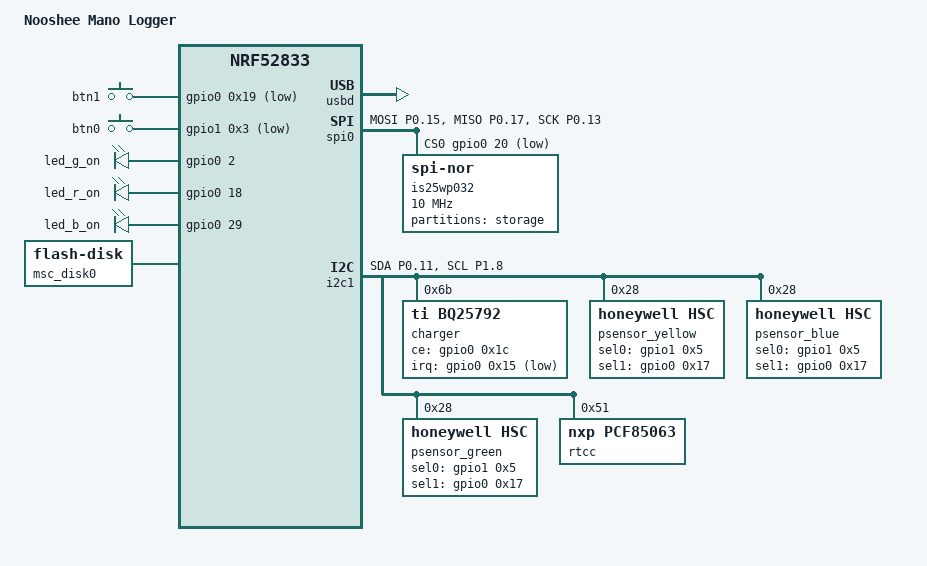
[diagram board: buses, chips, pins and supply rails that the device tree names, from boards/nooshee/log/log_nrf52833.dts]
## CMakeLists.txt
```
# SPDX-License-Identifier: Apache-2.0
cmake_minimum_required(VERSION 3.20.0)
set(BOARD_ROOT ${CMAKE_CURRENT_SOURCE_DIR}/.)
set(BOARD log/nrf52833)

# OOT Drivers
list(APPEND ZEPHYR_EXTRA_MODULES ${CMAKE_CURRENT_SOURCE_DIR}/drivers)

find_package(Zephyr REQUIRED HINTS $ENV{ZEPHYR_BASE})

project(ns_mano_fw)


test_sysbuild()

target_include_directories(app PRIVATE src)
target_sources(app PRIVATE src/main.c)
target_sources(app PRIVATE src/mano.c)
target_sources(app PRIVATE src/data.c)
```

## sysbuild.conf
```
SB_CONFIG_BOOTLOADER_MCUBOOT=y 
SB_CONFIG_SECURE_BOOT_APPCORE=y
SB_CONFIG_MCUBOOT_MODE_SINGLE_APP=y
SB_CONFIG_MCUBOOT_HARDWARE_DOWNGRADE_PREVENTION=n 
SB_CONFIG_MCUBOOT_APP_SYNC_UPDATEABLE_IMAGES=n
```

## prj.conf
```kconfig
CONFIG_ASSERT=y
CONFIG_DEBUG=y
CONFIG_DEBUG_OPTIMIZATIONS=y
CONFIG_LOG=y
CONFIG_PINCTRL=y
CONFIG_LOG_MODE_IMMEDIATE=y
CONFIG_LOG_INFO_COLOR_GREEN=y
CONFIG_RTT_CONSOLE=y
CONFIG_CONSOLE=y
CONFIG_USE_SEGGER_RTT=y
CONFIG_LOG_BACKEND_RTT=y

CONFIG_CHARGER_BQ25792=y
CONFIG_SENSOR_HSC=y
CONFIG_CBPRINTF_FP_SUPPORT=y
CONFIG_MAIN_STACK_SIZE=4096
#CONFIG_MINIMAL_LIBC=y


#CONFIG_PM_DEVICE=n
#CONFIG_JSON_LIBRARY=y
#CONFIG_I2C_LOG_LEVEL_OFF=y

#CONFIG_HEAP_MEM_POOL_SIZE=2048


#CONFIG_SENSOR=y
CONFIG_RTC_PCF85063=y
CONFIG_RTC_LOG_LEVEL_INF=y
CONFIG_LOG_DEFAULT_LEVEL=2
CONFIG_FLASHDISK_LOG_LEVEL_INF=y


#CONFIG_EVENTS=y

#CONFIG_REBOOT=y
#CONFIG_RESET_ON_FATAL_ERROR=y

CONFIG_BT=y
CONFIG_BT_PERIPHERAL=y
CONFIG_BT_DEVICE_NAME="Nooshee"
CONFIG_BT_DEVICE_APPEARANCE=833
CONFIG_BT_MAX_CONN=1
CONFIG_BT_LBS=y
CONFIG_BT_MAX_PAIRED=1
CONFIG_BT_GAP_AUTO_UPDATE_CONN_PARAMS=y
CONFIG_BT_PERIPHERAL_PREF_MIN_INT=10  
CONFIG_BT_PERIPHERAL_PREF_MAX_INT=20  

# Enable Flash Drivers
CONFIG_FLASH=y
CONFIG_SPI_NOR=y
CONFIG_SPI_NOR_SFDP_RUNTIME=n
CONFIG_SPI_NOR_FLASH_LAYOUT_PAGE_SIZE=4096
CONFIG_PM_OVERRIDE_EXTERNAL_DRIVER_CHECK=y  

# Flash Partition Manager
CONFIG_FLASH_MAP=y
CONFIG_FLASH_PAGE_LAYOUT=y
CONFIG_CRC=y

CONFIG_CJSON_LIB=y
CONFIG_NEWLIB_LIBC=y
CONFIG_NEWLIB_LIBC_FLOAT_PRINTF=y

# Enable Filesystem
CONFIG_FILE_SYSTEM=y
CONFIG_FAT_FILESYSTEM_ELM=y

CONFIG_DISK_DRIVER_FLASH=y

CONFIG_DISK_ACCESS=y

CONFIG_USB_DEVICE_STACK=y
CONFIG_USB_DEVICE_PRODUCT="Nooshee Log Trio"
CONFIG_USB_DEVICE_PID=0x0008
CONFIG_USB_MASS_STORAGE=y
CONFIG_USB_DEVICE_INITIALIZE_AT_BOOT=n

CONFIG_MASS_STORAGE_DISK_NAME="NAND"
CONFIG_MASS_STORAGE_STACK_SIZE=8192
CONFIG_STREAM_FLASH=y

CONFIG_NVS=y
CONFIG_PM_PARTITION_SIZE_NVS_STORAGE=0x4000
CONFIG_NVS_LOG_LEVEL_DBG=y
CONFIG_USB_CDC_ACM=y
CONFIG_USB_CDC_ACM_RINGBUF_SIZE=1024
CONFIG_UART_INTERRUPT_DRIVEN=y
CONFIG_UART_LINE_CTRL=y

CONFIG_PARTITION_MANAGER_ENABLED=y
CONFIG_USB_DEVICE_VID=0x6363
CONFIG_MULTITHREADING=y

CONFIG_SENSOR_LOG_LEVEL_INF=y
CONFIG_CHARGER_LOG_LEVEL_INF=y

CONFIG_GPIO=y
```

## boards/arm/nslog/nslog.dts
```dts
// Copyright (c) 2022 Nordic Semiconductor ASA
// SPDX-License-Identifier: Apache-2.0

/dts-v1/;
#include <nordic/nrf52833_qiaa.dtsi>

/ {
	model = "NSLOG";
	compatible = "nooshee,nslog";

	chosen {
		zephyr,sram = &sram0;
		zephyr,flash = &flash0;
		zephyr,code-partition = &slot0_partition;
		zephyr,shell-uart = &cdc_acm_uart0;
		nordic,pm-ext-flash = &is25wp032;

	};

	ioctl {
		compatible = "gpio-keys";
		// UI 
		btn_start_stop { gpios = <&gpio1 4 GPIO_ACTIVE_LOW>; }; // P1.04
		abp_int_0 { gpios = <&gpio0 27 GPIO_ACTIVE_LOW>; }; // P0.27
		abp_int_1 { gpios = <&gpio0 4 GPIO_ACTIVE_LOW>; }; // P0.04
		abp_int_2 { gpios = <&gpio0 11 GPIO_ACTIVE_LOW>; }; // P0.11
	};

    leds {
        compatible = "gpio-leds";
        led_g_on { gpios = <&gpio0 2 GPIO_ACTIVE_HIGH>; }; // P0.02
        led_r_on { gpios = <&gpio0 18 GPIO_ACTIVE_HIGH>; }; // P0.18
        led_b_on { gpios = <&gpio0 29 GPIO_ACTIVE_HIGH>; }; // P0.29
    };

};


&pinctrl {
	spi_psel:  spi_psel{group1 {psels = <NRF_PSEL(SPIM_MOSI, 0, 15)>,<NRF_PSEL(SPIM_MISO, 0, 17)>,<NRF_PSEL(SPIM_SCK, 0, 13)>;};};
	i2c_psel: i2c_psel{group1 {psels = <NRF_PSEL(TWIM_SDA, 0, 11)>,<NRF_PSEL(TWIM_SCL, 1, 8)>;};};
};

&gpio0 {
	status = "okay";
};

&gpio1 {
	status = "okay";
};

&gpiote {
	status = "okay";
	interrupts = <6 NRF_DEFAULT_IRQ_PRIORITY>;
};

&usbd {
	compatible = "nordic,nrf-usbd";
	status = "okay"; 

	
	cdc_acm_uart0: cdc_acm_uart0 {
		compatible = "zephyr,cdc-acm-uart";
	};
};


&spi0 {
	status = "okay";
	compatible = "nordic,nrf-spi";
	pinctrl-0 = <&spi_psel>;
    pinctrl-1 = <&spi_psel>;
    pinctrl-names = "default", "sleep";
	cs-gpios = <&gpio0 20 GPIO_ACTIVE_LOW>;


	is25wp032: is25wp032@0 {
        compatible = "jedec,spi-nor";
        reg = <0>;
        spi-max-frequency = <10000000>;
        size = <DT_SIZE_M(32)>;
        jedec-id = [9D 70 16];  
        status = "okay";

		partitions {
			compatible = "fixed-partitions";
			#address-cells = <1>;
			#size-cells = <1>;
	
			external_flash: partition@0 {
				label = "storage";
				reg = <0x0 0x400000>;  // Define the size according to your storage needs
			};
		};


    };
};

&i2c1 {
	compatible = "nordic,nrf-twim";
	status = "okay";
	pinctrl-0 = <&i2c_psel>;
	pinctrl-1 = <&i2c_psel>;
	pinctrl-names = "default", "sleep";

	bq25792: bq25792@6b 
	{
		compatible = "ti,bq25792";
		reg = <0x6b>;
		ce-gpios = <&gpio0 28 GPIO_ACTIVE_HIGH>; 
		irq-gpios = <&gpio0 21 (GPIO_ACTIVE_LOW | GPIO_PULL_UP)>; 
		charge-ilim = <1000>; 
		input-ilim = <1000>; 
	};

	hsc0: hsc0@28
	{
		compatible = "honeywell,hsc";
		reg = <0x28>;
		sel0-gpios = <&gpio1 5 GPIO_ACTIVE_HIGH>;
		sel1-gpios = <&gpio0 23 GPIO_ACTIVE_HIGH>;
		id = <0>; 
	};

	hsc1: hsc1@28
	{
		compatible = "honeywell,hsc";
		reg = <0x28>;
		sel0-gpios = <&gpio1 5 GPIO_ACTIVE_HIGH>;
		sel1-gpios = <&gpio0 23 GPIO_ACTIVE_HIGH>;
		id = <1>; 
	};

	hsc2: hsc2@28
	{
		compatible = "honeywell,hsc";
		reg = <0x28>;
		sel0-gpios = <&gpio1 5 GPIO_ACTIVE_HIGH>;
		sel1-gpios = <&gpio0 23 GPIO_ACTIVE_HIGH>;
		id = <2>; 
	};
};


&flash0 {
	partitions {
		compatible = "fixed-partitions";
		#address-cells = <1>;
		#size-cells = <1>;

		boot_partition: partition@0 {
			label = "mcuboot";
			reg = <0x0 0xc000>;
		};
		slot0_partition: partition@c000 {
			label = "image-0";
			reg = <0xc000 0x32000>;
		};
		slot1_partition: partition@3e000 {
			label = "image-1";
			reg = <0x3e000 0x32000>;
		};
		scratch_partition: partition@70000 {
			label = "image-scratch";
			reg = <0x70000 0xa000>;
		};
	};
};
```

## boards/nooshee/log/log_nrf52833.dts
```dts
/dts-v1/;
#include <nordic/nrf52833_qiaa.dtsi>

/ {
	model = "Nooshee Mano Logger";
	compatible = "nooshee,log-nrf52833";


	chosen {
		zephyr,sram = &sram0;
		zephyr,flash = &flash0;
		zephyr,code-partition = &slot0_partition;
		zephyr,shell-uart = &cdc_acm_uart0;
		nordic,pm-ext-flash = &is25wp032;
		zephyr,uart-mcumgr = &cdc_acm_uart0;
	};
    
	aliases {
		mcuboot-button0 = &btn0;
	};

    buttons {
		compatible = "gpio-keys";
		btn1: btn1 {
			gpios = < &gpio0 0x19 0x11 >;
		};
		btn0: btn0 {
			gpios = < &gpio1 0x3 0x11 >;
		};
	};

    leds {
        compatible = "gpio-leds";
        led_g_on { gpios = <&gpio0 2 GPIO_ACTIVE_HIGH>; }; // P0.02
        led_r_on { gpios = <&gpio0 18 GPIO_ACTIVE_HIGH>; }; // P0.18
        led_b_on { gpios = <&gpio0 29 GPIO_ACTIVE_HIGH>; }; // P0.29
    };
    msc_disk0 {
        compatible = "zephyr,flash-disk";
        partition = < &external_flash >;
        disk-name = "NAND";
        cache-size = < 0x1000 >;
    };


};




&usbd {
	compatible = "nordic,nrf-usbd";
	status = "okay"; 

	
	cdc_acm_uart0: cdc_acm_uart0 {
		compatible = "zephyr,cdc-acm-uart";
	};
};



&pinctrl {
    spi_psel:  spi_psel{group1 {psels = <NRF_PSEL(SPIM_MOSI, 0, 15)>,<NRF_PSEL(SPIM_MISO, 0, 17)>,<NRF_PSEL(SPIM_SCK, 0, 13)>;};};
    i2c_psel: i2c_psel{group1 {psels = <NRF_PSEL(TWIM_SDA, 0, 11)>,<NRF_PSEL(TWIM_SCL, 1, 8)>;};};
};

&gpio0 {
	status = "okay";
};

&gpio1 {
	status = "okay";
};

&gpiote {
	status = "okay";
	interrupts = <6 NRF_DEFAULT_IRQ_PRIORITY>;
};


&spi0 {
	status = "okay";
	compatible = "nordic,nrf-spi";
	pinctrl-0 = <&spi_psel>;
    pinctrl-1 = <&spi_psel>;
    pinctrl-names = "default", "sleep";
	cs-gpios = <&gpio0 20 GPIO_ACTIVE_LOW>;

    is25wp032: is25wp032@0 {
        compatible = "jedec,spi-nor";
        reg = < 0x0 >;
        spi-max-frequency = < 0x989680 >;
        size = < 0x2000000 >;
        jedec-id = [ 9D 70 16 ];
        status = "okay";
        partitions {
            compatible = "fixed-partitions";
            #address-cells = < 0x1 >;
            #size-cells = < 0x1 >;
            external_flash: partition@0 {
                label = "storage";
                reg = < 0x0 0x400000 >;
                phandle = < 0x8 >;
            };
        };
    };
};


&i2c1  {

	compatible = "nordic,nrf-twim";
	status = "okay";
	pinctrl-0 = <&i2c_psel>;
	pinctrl-1 = <&i2c_psel>;
	pinctrl-names = "default", "sleep";

    charger: bq25792@6b {
        compatible = "ti,bq25792";
        reg = < 0x6b >;
        ce-gpios = < &gpio0 0x1c 0x0 >;
        irq-gpios = < &gpio0 0x15 0x11 >;
        charge-ilim = < 0x3e8 >;
        input-ilim = < 0x3e8 >;
    };
    psensor_yellow: hsc0@28 {
        compatible = "honeywell,hsc";
        reg = < 0x28 >;
        sel0-gpios = < &gpio1 0x5 0x0 >;
        sel1-gpios = < &gpio0 0x17 0x0 >;
        id = < 0x0 >;
    };
    psensor_blue: hsc1@28 {
        compatible = "honeywell,hsc";
        reg = < 0x28 >;
        sel0-gpios = < &gpio1 0x5 0x0 >;
        sel1-gpios = < &gpio0 0x17 0x0 >;
        id = < 0x1 >;
    };
    psensor_green: hsc2@28 {
        compatible = "honeywell,hsc";
        reg = < 0x28 >;
        sel0-gpios = < &gpio1 0x5 0x0 >;
        sel1-gpios = < &gpio0 0x17 0x0 >;
        id = < 0x2 >;
    };
    rtcc: pcf85063@51 {
        compatible = "nxp,pcf85063";
        reg = < 0x51 >;
    };
};

&flash0 {
	partitions {
		compatible = "fixed-partitions";
		#address-cells = <1>;
		#size-cells = <1>;

		boot_partition: partition@0 {
			label = "mcuboot";
			reg = <0x0 0xc000>;
		};
		slot0_partition: partition@c000 {
			label = "image-0";
			reg = <0xc000 0x32000>;
		};
		slot1_partition: partition@3e000 {
			label = "image-1";
			reg = <0x3e000 0x32000>;
		};
		scratch_partition: partition@70000 {
			label = "image-scratch";
			reg = <0x70000 0xa000>;
		};
	};
};
```

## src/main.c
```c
 /* 
  _   _                 _               
 | \ | |               | |              
 |  \| | ___   ___  ___| |__   ___  ___ 
 | . ` |/ _ \ / _ \/ __| '_ \ / _ \/ _ \
 | |\  | (_) | (_) \__ \ | | |  __/  __/
 |_| \_|\___/ \___/|___/_| |_|\___|\___|

 Module for Zephyr RTOS by Dominic Moffat [2023-08-10]
 v1.0.0
 Copyright (c) 2023 Nooshee LLC 
 */   
#include <zephyr/device.h>
#include <zephyr/devicetree.h>
#include <zephyr/kernel.h>
#include <zephyr/logging/log.h>
#include <zephyr/zbus/zbus.h>
#include <zephyr/drivers/gpio.h>
#include <zephyr/drivers/i2c.h>
#include <zephyr/drivers/sensor.h>

#include <stdio.h>
#include <string.h>
#include <stdint.h>
#include <stdlib.h>

#define LOG_MODULE_NAME application
LOG_MODULE_REGISTER(LOG_MODULE_NAME, LOG_LEVEL_DBG);

const struct device* dev_i2c1 = 	DEVICE_DT_GET(DT_NODELABEL(i2c1));
void i2c_scan (const struct device *dev)
{
    int ret, i;
    for (i = 0; i < 0x7F; i++) 
    {
        uint8_t dummy_data;
        // Try to read from address 'i' to check if a device is present
        ret = i2c_read(dev, &dummy_data,  1, i); 
        //ret = i2c_reg_read_byte(dev,i,0x00, &dummy_data); 

        if (ret == 0) {
            LOG_INF("I2C Found: %02X on I2C", i); 
        } 
    }

    LOG_INF("I2C scan complete.\n");


}



int main(void)
{
	i2c_scan (dev_i2c1); 
	for (;;) 
    {
		k_msleep(1000);
	}
}
```

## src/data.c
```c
 /* 
  _   _                 _               
 | \ | |               | |              
 |  \| | ___   ___  ___| |__   ___  ___ 
 | . ` |/ _ \ / _ \/ __| '_ \ / _ \/ _ \
 | |\  | (_) | (_) \__ \ | | |  __/  __/
 |_| \_|\___/ \___/|___/_| |_|\___|\___|

 Module for Zephyr RTOS by Dominic Moffat [2023-08-10]
 v1.0.0
 Copyright (c) 2023 Nooshee LLC 
 */   
#include <zephyr/drivers/gpio.h>
#include <zephyr/device.h>
#include <zephyr/devicetree.h>
#include <zephyr/kernel.h>
#include <zephyr/logging/log.h>


// USB Mass Storage and File System
#include <zephyr/usb/usb_device.h>
#include <zephyr/usb/usbd.h>
#include <zephyr/usb/class/usbd_msc.h>
#include <zephyr/fs/fs.h>
#include <zephyr/storage/flash_map.h>
#include <ff.h>

// USB CDC Serial 
#include <zephyr/drivers/uart.h>
#include <zephyr/sys/crc.h>
#include <stdlib.h>
#include <stdio.h>

#include "mano.h"
#include "data.h"


// ####################################
// Logging
// ####################################
#define LOG_MODULE_NAME data
LOG_MODULE_REGISTER(LOG_MODULE_NAME, LOG_LEVEL_INF);

// ####################################
// Task
// ####################################
#define STACK_SIZE 4096
#define PRIORITY 1
K_THREAD_STACK_DEFINE(data_thread_stack, STACK_SIZE);
struct k_thread data_thread_data;


// ####################################
// MSC and Filesystem
// ####################################
#define STORAGE_PARTITION              external_flash
#define STORAGE_PARTITION_ID           FIXED_PARTITION_ID(STORAGE_PARTITION)
static struct fs_mount_t fs_mnt;




// ####################################
// USB UART 
// ####################################

uint8_t uart_buffer[DATA_UART_BUF_SIZE];
uint32_t uart_buffer_idx = 0; 

// ####################################
// Data Queue
// ####################################
K_MSGQ_DEFINE(data_out_queue, DATA_JSON_STRING_MAX_SIZE, DATA_IN_QUEUE_SIZE, DATA_IN_QUEUE_ALIGNMENT);
K_MSGQ_DEFINE(data_in_queue, DATA_JSON_STRING_MAX_SIZE, DATA_OUT_QUEUE_SIZE, DATA_IN_QUEUE_ALIGNMENT);

#define CRC16_POLY 0x1021
#define CRC16_INIT_VALUE 0xFFFF



// ##############################################################################
// 
// ##############################################################################
static int init_flash (struct fs_mount_t *mnt)
{
	int rc = 0;
	unsigned int id;
	const struct flash_area *pfa;

	mnt->storage_dev = (void *)STORAGE_PARTITION_ID;
	id = STORAGE_PARTITION_ID;

	rc = flash_area_open(id, &pfa);
	LOG_INF("Area %u at 0x%x on %s for %u bytes\n", id, (unsigned int)pfa->fa_off, pfa->fa_dev->name, (unsigned int)pfa->fa_size);

	if (rc < 0 && IS_ENABLED(CONFIG_APP_WIPE_STORAGE)) 
	{
		LOG_INF("Erasing flash area ... ");
		rc = flash_area_erase(pfa, 0, pfa->fa_size);
		LOG_INF("%d\n", rc);
	}

	if (rc < 0) {
		flash_area_close(pfa);
	}
	return rc;
}

// ##############################################################################
// 
// ##############################################################################
static int init_fs(struct fs_mount_t *mnt)
{
	int rc;
	static FATFS fat_fs;
	mnt->type = FS_FATFS;
	mnt->fs_data = &fat_fs;
	mnt->mnt_point = "/NAND:";
	rc = fs_mount(mnt);
	return rc;
}

// ##############################################################################
// 
// ##############################################################################
static int init_disk(void)
{
	struct fs_mount_t *mp = &fs_mnt;
	struct fs_dir_t dir;
	struct fs_statvfs sbuf;
	int rc;

	fs_dir_t_init(&dir);

	rc = init_flash(mp);
	if (rc < 0) 
    {
		LOG_ERR("Failed to setup flash area");
		return -1;
	}

	rc = init_fs(mp);
	if (rc < 0) {
		LOG_ERR("Failed to mount filesystem");
		return -1;
	}

	k_sleep(K_MSEC(50));

	LOG_INF("Mount %s: %d", fs_mnt.mnt_point, rc);

	rc = fs_statvfs(mp->mnt_point, &sbuf);
	if (rc < 0) {
		LOG_ERR("FAIL: statvfs: %d", rc);
		return -1;
	}

	LOG_INF("%s: bsize = %lu ; frsize = %lu ;"" blocks = %lu ; bfree = %lu",
                    mp->mnt_point,
                    sbuf.f_bsize, 
                    sbuf.f_frsize,
                    sbuf.f_blocks, 
                    sbuf.f_bfree);

	rc = fs_opendir(&dir, mp->mnt_point);
	LOG_INF ("%s opendir: %d", mp->mnt_point, rc);

	if (rc < 0) {
		LOG_ERR("Failed to open directory");
        return -1; 
	}

	while (rc >= 0) 
    {
		struct fs_dirent ent = { 0 };

		rc = fs_readdir(&dir, &ent);
		if (rc < 0) {
			LOG_ERR("Failed to read directory entries");
			break;
		}
		if (ent.name[0] == 0) {
			LOG_INF ("End of files");
			break;
		}
		LOG_INF ("  %c %u %s",
		       (ent.type == FS_DIR_ENTRY_FILE) ? 'F' : 'D',
		        ent.size,
		        ent.name);
	}

	(void)fs_closedir(&dir);

	return 0;
}

// ##############################################################################
// 
// ##############################################################################
static void uart_irq_handler (const struct device *dev, void *user_data)
{
	ARG_UNUSED(user_data);
	while (uart_irq_update(dev) && uart_irq_is_pending(dev)) 
	{
		// Data Received
        if (uart_irq_rx_ready(dev)) 
		{
			int recv_len = 0; 
			while (1)
			{
				uint8_t c; 
				recv_len = uart_fifo_read(dev, &c, 1);
				if (recv_len>0)
				{
					if (uart_buffer_idx < DATA_UART_BUF_SIZE)
					{
						uart_buffer[uart_buffer_idx++] = c; 									
						if (uart_buffer[uart_buffer_idx-1] == '\n')
						{
							
							uart_buffer[uart_buffer_idx-1] = 0; 
							k_msgq_put(&data_in_queue, uart_buffer, K_NO_WAIT); 
							uart_buffer_idx=0; 						
						}
					}
					else 
					{
						uart_buffer_idx=0; 
					}
				}
				else 
				{
					break; 
				}
			}
		}
        // Data Transmitted
		if (uart_irq_tx_ready(dev)) 
		{
			

		}
	}
}



// ####################################################################################
// 
// ####################################################################################
void data_task(void *arg1, void *arg2, void *arg3)
{
   	int ret; 

    
    LOG_INF("task started");

    // Start Disk and Filesystem
    if (init_disk()!=0)
    {
        LOG_ERR("Failed to start disk storage");
    }

    // Start USB CDC
	const struct device *dev;
	uint32_t baudrate, dtr, prev_dtr = 0U;
	dev = DEVICE_DT_GET_ONE(zephyr_cdc_acm_uart);
	if (!device_is_ready(dev)) {
		LOG_ERR("CDC ACM device not ready");
		return;
	}
    uart_irq_callback_set(dev, uart_irq_handler);
    ret = usb_enable(NULL);

	if (ret != 0) 
	{
		LOG_ERR("Failed to enable USB");
		return;
	}

    uart_irq_rx_enable(dev);

    while (1)
    {
        uart_line_ctrl_get(dev, UART_LINE_CTRL_DTR, &dtr);
        if (dtr != prev_dtr)
        {
            if (dtr)
            {
                ret = uart_line_ctrl_get(dev, UART_LINE_CTRL_BAUD_RATE, &baudrate);
                if (ret == 0) 
                {
                    LOG_INF("Terminal Connected @ %d", baudrate);
                } 
                else 
                {
                    LOG_INF("Terminal Connected @ UNKNOWN");
                }
            }
            else 
            {
                LOG_INF("Terminal Disconnected");
            }
            prev_dtr = dtr; 
        }

		// If connected to USB
		if (dtr)
		{
			char json_msg[DATA_JSON_STRING_MAX_SIZE] = {0};
			memset(json_msg, 0, sizeof(json_msg)); 
			if (k_msgq_get(&data_out_queue, json_msg, K_NO_WAIT) == 0)
			{
				uart_fifo_fill(dev, (const uint8_t*) json_msg, strlen(json_msg));
				uart_fifo_fill(dev, "\n", 1);
			}
			
		}

		k_msleep(1); 
	}
}

// ####################################################################################
// 
// ####################################################################################
int data_task_init(void)
{
    // Start the thread
    k_tid_t tid = k_thread_create(&data_thread_data, data_thread_stack, STACK_SIZE, data_task, NULL, NULL, NULL, PRIORITY, 0, K_NO_WAIT);
    if (!tid) 
    {
        LOG_ERR("task failed to start"); 
        return -1; 
    }
    return 0; 
}

SYS_INIT(data_task_init, APPLICATION, 80);
```

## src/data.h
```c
 /* 
 ____  __    __   _  _  ___  _  _  _  _ 
(_  _)(  )  (  ) ( \/ )/ __)( )/ )( \/ )
 _)(_  )(__  )(__ \  / \__ \ )  (  \  / 
(____)(____)(____)(__) (___/(_)\_) (__) 

 Module for Zephyr RTOS by Dominic Moffat [2023-08-10]
 v1.0.0
 Copyright (c) 2023 Nooshee LLC 
 */   

#ifndef ZEPHYR_INCLUDE_DATA_H_
#define ZEPHYR_INCLUDE_DATA_H_

#ifdef __cplusplus
extern "C" {
#endif

#include <stdio.h>
#include <string.h>
#include <stdint.h>
#include <stdlib.h>
#include <zephyr/device.h>
#include <zephyr/devicetree.h>
#include <zephyr/kernel.h>


#define DATA_UART_BUF_SIZE 512
#define DATA_JSON_STRING_MAX_SIZE DATA_UART_BUF_SIZE  
#define DATA_IN_QUEUE_SIZE 1
#define DATA_IN_QUEUE_ALIGNMENT 1
#define DATA_OUT_QUEUE_SIZE 10
#define DATA_OUT_QUEUE_ALIGNMENT 1


extern struct k_msgq data_in_queue; 
extern struct k_msgq data_out_queue; 
extern struct k_msgq data_settings_queue; 



#ifdef __cplusplus
}
#endif
#endif 
```

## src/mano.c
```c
 /* 
  _   _                 _               
 | \ | |               | |              
 |  \| | ___   ___  ___| |__   ___  ___ 
 | . ` |/ _ \ / _ \/ __| '_ \ / _ \/ _ \
 | |\  | (_) | (_) \__ \ | | |  __/  __/
 |_| \_|\___/ \___/|___/_| |_|\___|\___|

 Module for Zephyr RTOS by Dominic Moffat [2023-08-10]
 v1.0.0
 Copyright (c) 2023 Nooshee LLC 
 */   
#include <zephyr/drivers/gpio.h>
#include <zephyr/device.h>
#include <zephyr/devicetree.h>
#include <zephyr/kernel.h>
#include <zephyr/logging/log.h>
#include <zephyr/logging/log_ctrl.h>
#include <zephyr/drivers/rtc.h>
#include <zephyr/drivers/sensor.h>
#include <stdio.h>
#include <cJSON.h>
#include <string.h>
#include <zephyr/fs/nvs.h>
#include <zephyr/drivers/flash.h>
#include <zephyr/storage/flash_map.h>
#include "mano.h"
#include "data.h"



// ####################################
// Logging
// ####################################
#define LOG_MODULE_NAME mano
LOG_MODULE_REGISTER(LOG_MODULE_NAME, LOG_LEVEL_DBG);

// ####################################
// Task
// ####################################
#define STACK_SIZE 4096
#define PRIORITY 5
K_THREAD_STACK_DEFINE(mano_thread_stack, STACK_SIZE);
struct k_thread mano_thread_data;

// Store Settings
#define NVS_PARTITION              nvs_storage
#define NVS_PARTITION_ID           FIXED_PARTITION_DEVICE (NVS_PARTITION)
#define NVS_PARTITION_OFFSET	   FIXED_PARTITION_OFFSET(NVS_PARTITION)



#include <stdint.h>
#include <stdio.h>

static bool mano_log_status = 0; 

struct k_timer mano_interval;

bool update_calibration_offset = false;

#define NVS_CALIBRATION_OFFSET_GRN 1
#define NVS_CALIBRATION_OFFSET_YEL 2
#define NVS_CALIBRATION_OFFSET_BLU 3
double mano_calibration_offset_grn = 0;
double mano_calibration_offset_yel = 0;
double mano_calibration_offset_blu = 0;


struct k_work sensor_work;
void mano_interval_handler (struct k_timer *logging); 


struct k_sem sensor_calib_sem;

const struct device *rtc_dev = DEVICE_DT_GET(DT_NODELABEL(rtcc));
const struct device* psensor_green = 	DEVICE_DT_GET(DT_NODELABEL(psensor_green));
const struct device* psensor_yellow = 	DEVICE_DT_GET(DT_NODELABEL(psensor_yellow));
const struct device* psensor_blue = 	DEVICE_DT_GET(DT_NODELABEL(psensor_blue));

static struct nvs_fs nvs;


// ####################################################################################
// 
// ####################################################################################
static void mano_get_pressure_offset (uint32_t id, double* val)
{
	if (nvs_read(&nvs, id, val, sizeof(double)) > 0) 
    { 
		LOG_INF ("Retrieving calibration offset for channel (%d): %f mmHg", id, *val);
	} 
	else   
    {
		*val = 0; 
        LOG_WRN ("Calibration offset (%d) missing, setting default", id);
		nvs_write(&nvs, id, val, sizeof(double));
	}
}

// ####################################################################################
// 
// ####################################################################################
static void mano_set_pressure_offset (uint32_t id, double* val)
{
    if (nvs_write(&nvs, id, val, sizeof(double)) >= 0)
    {
        LOG_INF ("Updating calibration offset (%d): %f mmHg", id, *val);
    }
    else 
    {
        LOG_ERR ("Error updating calibration offset (%d): %f mmHg", id, *val);
    }
}



static int init_flash_nvs (void)
{
	int rc = 0;
	struct flash_pages_info info;

	nvs.flash_device =  NVS_PARTITION_ID;
	if (!device_is_ready(nvs.flash_device)) {
		printk("NVS device %s is not ready", nvs.flash_device->name);
		return 0;
	}
	
	nvs.offset = NVS_PARTITION_OFFSET;
	rc = flash_get_page_info_by_offs(nvs.flash_device, nvs.offset, &info);
	if (rc) {
		printk("Unable to get page info, rc=%d", rc);
		return 0;
	}
	nvs.sector_size = info.size;
	nvs.sector_count = 3U;

	rc = nvs_mount(&nvs);
	if (rc) {
		printk("Flash Init failed, rc=%d", rc);
		return 0;
	}
	return rc;
}

void read_pressure (const struct device *sensor, double* pressure_f) 
{
    if (!device_is_ready(sensor)) {
        LOG_ERR("Sensor is not ready\n");
        return;
    }

    int ret = sensor_sample_fetch(sensor);
    if (ret) {
        LOG_ERR("Failed to fetch sample:  %d\n", ret);
        return;
    }

    struct sensor_value pressure;
    ret = sensor_channel_get(sensor, SENSOR_CHAN_PRESS, &pressure);
    if (ret) {
        LOG_ERR("Failed to get pressure value: %d\n", ret);
        return;
    }

    (*pressure_f) = sensor_value_to_float(&pressure);
}



void read_sensor_data_work(struct k_work *work)
{
    double p_grn = 0; 
    double p_yel = 0;
    double p_blu = 0;

    read_pressure(psensor_green, &p_grn);
    read_pressure(psensor_yellow, &p_yel);
    read_pressure(psensor_blue, &p_blu);

    // Check if we have triggered calibration
    if (k_sem_take(&sensor_calib_sem, K_NO_WAIT) == 0) 
    {
        update_calibration_offset = false; 
        mano_calibration_offset_grn = p_grn; 
        mano_calibration_offset_yel = p_yel; 
        mano_calibration_offset_blu = p_blu; 

        mano_set_pressure_offset(NVS_CALIBRATION_OFFSET_GRN, &mano_calibration_offset_grn); 
        mano_set_pressure_offset(NVS_CALIBRATION_OFFSET_YEL, &mano_calibration_offset_yel); 
        mano_set_pressure_offset(NVS_CALIBRATION_OFFSET_BLU, &mano_calibration_offset_blu); 
    } 

    // Remove Offset
    p_grn = p_grn - mano_calibration_offset_grn; 
    p_yel = p_yel - mano_calibration_offset_yel; 
    p_blu = p_blu - mano_calibration_offset_blu; 

    cJSON *json = cJSON_CreateObject();
    cJSON_AddNumberToObject(json, "stream", k_uptime_get()); 
    cJSON_AddNumberToObject(json, "chan_g", p_grn);  
    cJSON_AddNumberToObject(json, "chan_y", p_yel);  
    cJSON_AddNumberToObject(json, "chan_b", p_blu);  
    cJSON_AddStringToObject(json, "units", "mmHg");  
    char *output = cJSON_PrintUnformatted(json);
    cJSON_Delete(json);

    if (output)
    {        
        k_msgq_put(&data_out_queue, output, K_NO_WAIT); 
        free(output);
    }
    k_yield(); 

}


/** 
 * @brief Set the device time.
 * 
 * @param args Array containing time data as follows:
 * - args[0]: Year
 * - args[1]: Month
 * - args[2]: Day
 * - args[3]: Hour
 * - args[4]: Minute
 * - args[5]: Second
 */

static char* set_time(cJSON *json) 
{


    cJSON *json_out = cJSON_CreateObject();
    char *json_str = NULL; 
    cJSON_AddNumberToObject(json_out, "response", CMD_SET_TIME); 
    
    cJSON *year = cJSON_GetObjectItem(json, "year");
    cJSON *month = cJSON_GetObjectItem(json, "month");
    cJSON *day = cJSON_GetObjectItem(json, "day");
    cJSON *hour = cJSON_GetObjectItem(json, "hour");
    cJSON *minute = cJSON_GetObjectItem(json, "minute");
    cJSON *second = cJSON_GetObjectItem(json, "second");
    if (!cJSON_IsNumber(year)   || !cJSON_IsNumber(month)   || 
        !cJSON_IsNumber(day)    || !cJSON_IsNumber(hour)    || 
        !cJSON_IsNumber(minute) || !cJSON_IsNumber(second))
    {
        printf("Error: Invalid time fields in CMD_SET_TIME\n");
        cJSON_AddStringToObject(json_out, "result", "error"); 
        cJSON_AddStringToObject(json_out, "reason", "date format incorrect"); 
        goto finish;
    }

    struct rtc_time new_time = {
        .tm_sec = second->valueint,
        .tm_min = minute->valueint,
        .tm_hour = hour->valueint,
        .tm_mday = day->valueint,
        .tm_mon = month->valueint - 1,         /* tm_mon is 0-based (0 = January) */
        .tm_year = year->valueint - 1900,      /* tm_year is year since 1900 */
        .tm_nsec = 0                          /* Set nanoseconds to 0 */
    };

    if (!device_is_ready(rtc_dev)) 
    {
        LOG_ERR("RTCC device not ready");
        cJSON_AddStringToObject(json_out, "result", "error"); 
        cJSON_AddStringToObject(json_out, "reason", "RTCC hardware error"); 
        goto finish;
    }

    int ret = rtc_set_time(rtc_dev, &new_time); 
    if (ret) 
    {
        LOG_ERR("Failed to set time on RTC, error: %d", ret);
        cJSON_AddStringToObject(json_out, "result", "error"); 
        cJSON_AddStringToObject(json_out, "reason", "RTCC hardware error"); 
        goto finish;
    }
    
    LOG_INF("Set Time Command: %d-%02d-%02d %02d:%02d:%02d\n",
           year->valueint, month->valueint, day->valueint,
           hour->valueint, minute->valueint, second->valueint);
    cJSON_AddStringToObject(json_out, "result", "ok"); 
    finish: 
        json_str = cJSON_PrintUnformatted(json_out);
        cJSON_Delete(json_out);
        return json_str;
}

/** 
 * @brief Get the current device time.
 * 
 * @note No parameters are needed.
 */
static char* get_time(void) 
{
    LOG_INF("Getting current time\n");

    if (!device_is_ready(rtc_dev)) 
    {
        LOG_ERR("RTCC device not ready");
        return NULL;
    }

    struct rtc_time current_time;
    int ret = rtc_get_time(rtc_dev, &current_time);
    if (ret) 
    {
        LOG_ERR("Failed to get time from RTC, error: %d", ret);
        return NULL;
    }

    cJSON *json = cJSON_CreateObject();
    cJSON_AddNumberToObject(json, "response", CMD_GET_TIME); 
    cJSON_AddStringToObject(json, "result", "ok"); 
    cJSON_AddNumberToObject(json, "year", current_time.tm_year + 1900);  // Convert to full year
    cJSON_AddNumberToObject(json, "month", current_time.tm_mon + 1);     // Convert to 1-based month
    cJSON_AddNumberToObject(json, "day", current_time.tm_mday);
    cJSON_AddNumberToObject(json, "hour", current_time.tm_hour);
    cJSON_AddNumberToObject(json, "minute", current_time.tm_min);
    cJSON_AddNumberToObject(json, "second", current_time.tm_sec);
    char *json_str = cJSON_PrintUnformatted(json);
    // Clean up the JSON object (json_str needs to be freed by the caller)
    cJSON_Delete(json);
    return json_str;
}

/** 
 * @brief Zero the pressure sensor.
 * 
 * @note No parameters are needed.
 */
 static char* zero_pressure_sensor(void) 
{
    LOG_INF("Zeroing pressure sensor");


    // Zero here if not running
    if (mano_log_status == false)
    {
        double p_grn = 0; 
        double p_yel = 0;
        double p_blu = 0;

        read_pressure(psensor_green, &p_grn);
        read_pressure(psensor_yellow, &p_yel);
        read_pressure(psensor_blue, &p_blu);

        mano_calibration_offset_grn = p_grn; 
        mano_calibration_offset_yel = p_yel; 
        mano_calibration_offset_blu = p_blu; 

        mano_set_pressure_offset(NVS_CALIBRATION_OFFSET_GRN, &mano_calibration_offset_grn); 
        mano_set_pressure_offset(NVS_CALIBRATION_OFFSET_YEL, &mano_calibration_offset_yel); 
        mano_set_pressure_offset(NVS_CALIBRATION_OFFSET_BLU, &mano_calibration_offset_blu); 

    }
    // Do it on the next read
    else 
    {
        k_sem_give(&sensor_calib_sem);
    }

    cJSON *json = cJSON_CreateObject();
    cJSON_AddNumberToObject(json, "response", CMD_ZERO_PRESSURE_SENSOR); 
    cJSON_AddStringToObject(json, "result", "ok"); 
    char *json_str = cJSON_PrintUnformatted(json);
    // Clean up the JSON object (json_str needs to be freed by the caller)
    cJSON_Delete(json);
    return json_str;
}

/** 
 * @brief Start logging data at a specified interval.
 * 
 * @param interval Logging interval in milliseconds.
 */
static char* start_logging(cJSON* json) 
{
    // Response
    cJSON *jout = cJSON_CreateObject();
    cJSON_AddNumberToObject(jout, "response", CMD_START_LOGGING); 

    cJSON *interval = cJSON_GetObjectItem(json, "interval");
    if (interval && cJSON_IsNumber(interval))
    {
        LOG_INF("Starting logging with interval: %d ms", interval->valueint);
        cJSON_AddStringToObject(jout, "result", "ok"); 

        if (mano_log_status == false)
        {
            k_timer_start(&mano_interval, K_MSEC(interval->valueint), K_MSEC(interval->valueint));
            mano_log_status = true; 
        }
    } 
    else 
    {
        LOG_WRN("Starting logging with interval: error, invalid interval");
        cJSON_AddStringToObject(jout, "result", "error"); 
        cJSON_AddStringToObject(jout, "reason", "invalid interval"); 
    }

    char *jout_str = cJSON_PrintUnformatted(jout);
    // Clean up the JSON object (json_str needs to be freed by the caller)
    cJSON_Delete(jout);
    return jout_str;
}

/** 
 * @brief Stop logging data.
 * 
 * @note No parameters are needed.
 */
static char* stop_logging(void) 
{
    LOG_INF("Stopping logging");

    k_timer_stop(&mano_interval); 
    mano_log_status = false; 
    cJSON *json = cJSON_CreateObject();
    cJSON_AddNumberToObject(json, "response", CMD_STOP_LOGGING); 
    cJSON_AddStringToObject(json, "result", "ok"); 
    char *json_str = cJSON_PrintUnformatted(json);
    // Clean up the JSON object (json_str needs to be freed by the caller)
    cJSON_Delete(json);
    return json_str;
}

/** 
 * @brief Perform a hardware check.
 * 
 * @note No parameters are needed.
 */
static char* hardware_check(void) 
{
    LOG_INF("Performing hardware check");
    cJSON *json = cJSON_CreateObject();
    cJSON_AddNumberToObject(json, "response", CMD_HARDWARE_CHECK); 
    cJSON_AddStringToObject(json, "result", "ok"); 

    cJSON_AddNumberToObject(json, "bq25792", 1);
    cJSON_AddNumberToObject(json, "hsc0", 1);  
    cJSON_AddNumberToObject(json, "hsc1", 1);  
    cJSON_AddNumberToObject(json, "hsc3", 1);  
    cJSON_AddNumberToObject(json, "pcf85063", 1);  
    cJSON_AddNumberToObject(json, "fs", 1);
    cJSON_AddNumberToObject(json, "btn0", 1);
    cJSON_AddNumberToObject(json, "btn1", 1);
    char *json_str = cJSON_PrintUnformatted(json);
    cJSON_Delete(json);
    return json_str;
}

/** 
 * @brief Perform a hardware check.
 * 
 * @note No parameters are needed.
 */
static char* get_battery(void) 
{
    LOG_INF("Performing hardware check");
    cJSON *json = cJSON_CreateObject();
    cJSON_AddNumberToObject(json, "response", CMD_GET_BATTERY); 
    cJSON_AddStringToObject(json, "result", "ok"); 
    cJSON_AddNumberToObject(json, "soc", 100);
    char *json_str = cJSON_PrintUnformatted(json);
    cJSON_Delete(json);
    return json_str;
}

/** 
 * @brief Perform a factory reset.
 * 
 * @note No parameters are needed.
 */
static char* factory_reset(void) 
{
    LOG_INF("Performing factory reset");
    cJSON *json = cJSON_CreateObject();
    cJSON_AddNumberToObject(json, "response", CMD_FACTORY_RESET); 
    cJSON_AddStringToObject(json, "result", "ok"); 
    char *json_str = cJSON_PrintUnformatted(json);
    cJSON_Delete(json);
    return json_str;
}

/** 
 * @brief Perform a single read from a specified sensor.
 * 
 * @param sensor_id The ID of the sensor to read:
 * - 0: Temperature sensor
 * - 1: Humidity sensor
 * - 2: Pressure sensor
 */
static char* single_read(void) 
{
    LOG_INF("Single read from sensors");
    cJSON *json = cJSON_CreateObject();
    cJSON_AddNumberToObject(json, "response", CMD_SINGLE_READ); 
    cJSON_AddStringToObject(json, "result", "ok"); 
    cJSON_AddNumberToObject(json, "hsc0", 1);  
    cJSON_AddNumberToObject(json, "hsc1", 1);  
    cJSON_AddNumberToObject(json, "hsc3", 1);  
    char *json_str = cJSON_PrintUnformatted(json);
    cJSON_Delete(json);
    return json_str;
}



static void mano_parse_command(char *json_str) 
{
    char* output = NULL; 
   
    // Parse the JSON string
    cJSON *json = cJSON_Parse(json_str);
    if (json == NULL) {
        printf("Error: Failed to parse JSON!\n");
        return;
    }

    // Get the "cmd" field from the JSON
    cJSON *cmd_item = cJSON_GetObjectItem(json, "cmd");
    if (!cJSON_IsNumber(cmd_item)) {
        printf("Error: Invalid or missing 'cmd' field!\n");
        cJSON_Delete(json);
        return;
    }

    int cmd_code = cmd_item->valueint;
    // Switch based on the command code
    switch (cmd_code)
     {
        case CMD_SET_TIME:
        {
            output = set_time(json);  
            break;
        }

        case CMD_GET_TIME:
        {
            output = get_time(); 
            break;
        }

        case CMD_ZERO_PRESSURE_SENSOR:
        {
            output = zero_pressure_sensor(); 
            break;
        }

        case CMD_START_LOGGING:
        {
            output = start_logging(json); 
            break;
        }

        case CMD_STOP_LOGGING:
        {
            output = stop_logging(); 
            break;
        }

        case CMD_HARDWARE_CHECK:
        {
            output = hardware_check(); 
            break;
        }

        case CMD_FACTORY_RESET:
        {
            output = factory_reset(); 
            break;
        }

        case CMD_GET_BATTERY:
        {
            output = get_battery(); 
            break;
        }

        case CMD_SINGLE_READ:
        {
            output = single_read(); 
            break;
        }
        default:
        {
            LOG_WRN("Error: Unknown command code %d", cmd_code);
            cJSON *json_out = cJSON_CreateObject();
            cJSON_AddNumberToObject(json_out, "response", cmd_code); 
            cJSON_AddStringToObject(json_out, "result", "error"); 
            cJSON_AddStringToObject(json_out, "reason", "unknown command"); 
            output = cJSON_PrintUnformatted(json_out);
            cJSON_Delete(json_out);
            break;
        }
    }

    if (output)
    {        
        k_msgq_put(&data_out_queue, output, K_NO_WAIT); 
        free(output);
    }

    // Clean up cJSON object
    cJSON_Delete(json);
}





// ####################################################################################
// 
// ####################################################################################
void mano_interval_handler (struct k_timer *logging)
{
    k_work_submit(&sensor_work);  // Schedule the work on the system workqueue
}




// ####################################################################################
// 
// ####################################################################################
void mano_task(void *arg1, void *arg2, void *arg3)
{
    LOG_INF("task started");

    k_sem_init(&sensor_calib_sem, 0, 1);

    k_timer_init(&mano_interval, mano_interval_handler, NULL);
    k_work_init(&sensor_work, read_sensor_data_work);


	init_flash_nvs(); 
    mano_get_pressure_offset (NVS_CALIBRATION_OFFSET_GRN, &mano_calibration_offset_grn); 
    mano_get_pressure_offset (NVS_CALIBRATION_OFFSET_YEL, &mano_calibration_offset_yel); 
    mano_get_pressure_offset (NVS_CALIBRATION_OFFSET_BLU, &mano_calibration_offset_blu); 


    while (1)
    {
 
        char json_msg[DATA_JSON_STRING_MAX_SIZE] = {0};
        /* Dequeue the JSON string from the message queue */
        if (k_msgq_get(&data_in_queue, json_msg, K_NO_WAIT) == 0)
        {
            mano_parse_command(json_msg); 
            LOG_INF("Received JSON message: %s", json_msg);

            memset(json_msg, 0, sizeof(json_msg)); 
            /* Process the JSON message (you could use a JSON parser here) */
        }

        k_msleep(1); 
    }
}

// ####################################################################################
// 
// ####################################################################################
int mano_task_init(void)
{
    // Start the thread
    k_tid_t tid = k_thread_create(&mano_thread_data, mano_thread_stack, STACK_SIZE, mano_task, NULL, NULL, NULL, PRIORITY, 0, K_NO_WAIT);
    if (!tid) 
    {
        LOG_ERR("task failed to start"); 
        return -1; 
    }
    return 0; 
}

SYS_INIT(mano_task_init, APPLICATION, CONFIG_APPLICATION_INIT_PRIORITY);
```

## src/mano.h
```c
 /* 
 ____  __    __   _  _  ___  _  _  _  _ 
(_  _)(  )  (  ) ( \/ )/ __)( )/ )( \/ )
 _)(_  )(__  )(__ \  / \__ \ )  (  \  / 
(____)(____)(____)(__) (___/(_)\_) (__) 

 Module for Zephyr RTOS by Dominic Moffat [2023-08-10]
 v1.0.0
 Copyright (c) 2023 Nooshee LLC 
 */   

#ifndef ZEPHYR_INCLUDE_MANO_H_
#define ZEPHYR_INCLUDE_MANO_H_

#ifdef __cplusplus
extern "C" {
#endif

#include <stdio.h>
#include <string.h>
#include <stdint.h>
#include <stdlib.h>
#include <zephyr/device.h>
#include <zephyr/devicetree.h>
#include <zephyr/kernel.h>


// Enum for command codes
typedef enum {
    CMD_SET_TIME = 0x01,
    CMD_GET_TIME = 0x02,
    CMD_ZERO_PRESSURE_SENSOR = 0x03,
    CMD_START_LOGGING = 0x04,
    CMD_STOP_LOGGING = 0x05,
    CMD_HARDWARE_CHECK = 0x06,
    CMD_GET_BATTERY = 0x07,
    CMD_FACTORY_RESET = 0x08,
    CMD_SINGLE_READ = 0x09
} mano_command_code_t;




#ifdef __cplusplus
}
#endif
#endif 
```
